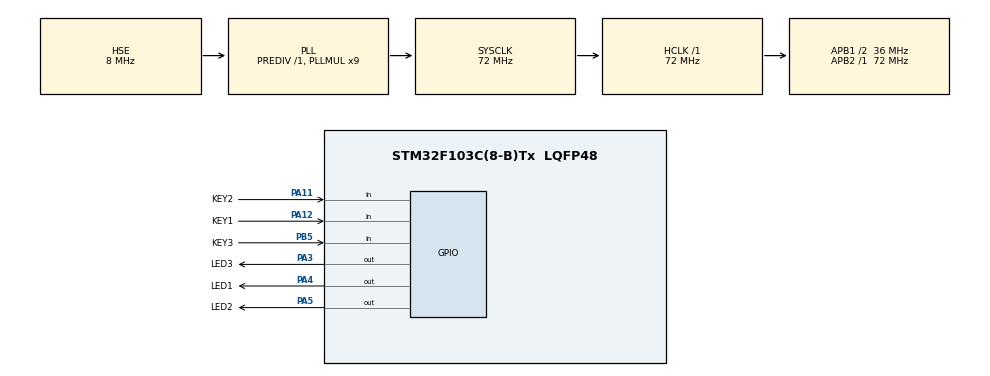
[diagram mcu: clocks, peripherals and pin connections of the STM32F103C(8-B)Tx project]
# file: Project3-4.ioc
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Mcu.Family=STM32F1
Mcu.Name=STM32F103C(8-B)Tx
Mcu.Package=LQFP48
NVIC.PriorityGroup=NVIC_PRIORITYGROUP_4
PA11.GPIO_Label=KEY2
PA11.GPIO_PuPd=GPIO_PULLUP
PA11.Signal=GPIO_Input
PA12.GPIO_Label=KEY1
PA12.GPIO_PuPd=GPIO_PULLUP
PA12.Signal=GPIO_Input
PA13.Mode=Serial_Wire
PA13.Signal=SYS_JTMS-SWDIO
PA14.Mode=Serial_Wire
PA14.Signal=SYS_JTCK-SWCLK
PA3.GPIO_Label=LED3
PA3.PinState=GPIO_PIN_SET
PA3.Signal=GPIO_Output
PA4.GPIO_Label=LED1
PA4.PinState=GPIO_PIN_SET
PA4.Signal=GPIO_Output
PA5.GPIO_Label=LED2
PA5.PinState=GPIO_PIN_SET
PA5.Signal=GPIO_Output
PB5.GPIO_Label=KEY3
PB5.GPIO_PuPd=GPIO_PULLUP
PB5.Signal=GPIO_Input
PD0-OSC_IN.Mode=HSE-External-Oscillator
PD0-OSC_IN.Signal=RCC_OSC_IN
PD1-OSC_OUT.Mode=HSE-External-Oscillator
PD1-OSC_OUT.Signal=RCC_OSC_OUT
ProjectManager.HeapSize=0x200
ProjectManager.StackSize=0x400
ProjectManager.TargetToolchain=MDK-ARM V5.32
RCC.AHBFreq_Value=72000000
RCC.APB1CLKDivider=RCC_HCLK_DIV2
RCC.APB1Freq_Value=36000000
RCC.APB1TimFreq_Value=72000000
RCC.APB2Freq_Value=72000000
RCC.APB2TimFreq_Value=72000000
RCC.HCLKFreq_Value=72000000
RCC.PLLMUL=RCC_PLL_MUL9
RCC.PLLSourceVirtual=RCC_PLLSOURCE_HSE
RCC.SYSCLKFreq_VALUE=72000000
RCC.SYSCLKSource=RCC_SYSCLKSOURCE_PLLCLK
RCC.USBFreq_Value=72000000
board=custom

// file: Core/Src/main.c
/* USER CODE BEGIN Header */
/**
  ******************************************************************************
  * @file           : main.c
  * @brief          : Main program body
  ******************************************************************************
  * @attention
  *
  * Copyright (c) 2025 STMicroelectronics.
  * All rights reserved.
  *
  * This software is licensed under terms that can be found in the LICENSE file
  * in the root directory of this software component.
  * If no LICENSE file comes with this software, it is provided AS-IS.
  *
  ******************************************************************************
  */
/* USER CODE END Header */
#include "main.h"
#include "gpio.h"

void SystemClock_Config(void);

int main(void)
{

  /* MCU Configuration--------------------------------------------------------*/

  /* Reset of all peripherals, Initializes the Flash interface and the Systick. */
  HAL_Init();

  /* Configure the system clock */
  SystemClock_Config();

  /* Initialize all configured peripherals */
  MX_GPIO_Init();

  /* Infinite loop */
  /* USER CODE BEGIN WHILE */
  while (1)
  {
	  //在cubemx中将PA12和PA11模式设置为GPIO_Input，更改用户标签为KEY1和KEY2
	  //在cubemx中将PA4和PA5模式设置为GPIO_Output，将初始电平设置为High
	  if(HAL_GPIO_ReadPin(GPIOA,GPIO_PIN_12) == GPIO_PIN_RESET)//按键1按下
	  {
		  HAL_Delay(20);											//消抖
		  while(HAL_GPIO_ReadPin(KEY1_GPIO_Port,KEY1_Pin) == GPIO_PIN_RESET);//等待按键松手
		  HAL_Delay(20);
		  HAL_GPIO_TogglePin(GPIOA, GPIO_PIN_5);//PA5的状态取反

	  }
	  if(HAL_GPIO_ReadPin(KEY2_GPIO_Port,KEY2_Pin) == GPIO_PIN_RESET)//按键2按下
	  {
		  HAL_Delay(20);											//消抖
		  while(HAL_GPIO_ReadPin(KEY2_GPIO_Port,KEY2_Pin) == GPIO_PIN_RESET);//等待按键松手
		  HAL_Delay(20);
		  HAL_GPIO_TogglePin(GPIOA, GPIO_PIN_4);//PA4的状态取反

	  }
	  if(HAL_GPIO_ReadPin(KEY3_GPIO_Port,KEY3_Pin) == GPIO_PIN_RESET)//按键3按下
	  {
		  HAL_Delay(20);											//消抖
		  while(HAL_GPIO_ReadPin(KEY3_GPIO_Port,KEY3_Pin) == GPIO_PIN_RESET);//等待按键松手
		  HAL_Delay(20);
		  HAL_GPIO_TogglePin(GPIOA, GPIO_PIN_3);//PA3的状态取反

	  }

    /* USER CODE END WHILE */

  }
}

void SystemClock_Config(void)
{
  RCC_OscInitTypeDef RCC_OscInitStruct = {0};
  RCC_ClkInitTypeDef RCC_ClkInitStruct = {0};

  /** Initializes the RCC Oscillators according to the specified parameters
  * in the RCC_OscInitTypeDef structure.
  */
  RCC_OscInitStruct.OscillatorType = RCC_OSCILLATORTYPE_HSE;
  RCC_OscInitStruct.HSEState = RCC_HSE_ON;
  RCC_OscInitStruct.HSEPredivValue = RCC_HSE_PREDIV_DIV1;
  RCC_OscInitStruct.HSIState = RCC_HSI_ON;
  RCC_OscInitStruct.PLL.PLLState = RCC_PLL_ON;
  RCC_OscInitStruct.PLL.PLLSource = RCC_PLLSOURCE_HSE;
  RCC_OscInitStruct.PLL.PLLMUL = RCC_PLL_MUL9;
  if (HAL_RCC_OscConfig(&RCC_OscInitStruct) != HAL_OK)
  {
    Error_Handler();
  }

  /** Initializes the CPU, AHB and APB buses clocks
  */
  RCC_ClkInitStruct.ClockType = RCC_CLOCKTYPE_HCLK|RCC_CLOCKTYPE_SYSCLK
                              |RCC_CLOCKTYPE_PCLK1|RCC_CLOCKTYPE_PCLK2;
  RCC_ClkInitStruct.SYSCLKSource = RCC_SYSCLKSOURCE_PLLCLK;
  RCC_ClkInitStruct.AHBCLKDivider = RCC_SYSCLK_DIV1;
  RCC_ClkInitStruct.APB1CLKDivider = RCC_HCLK_DIV2;
  RCC_ClkInitStruct.APB2CLKDivider = RCC_HCLK_DIV1;

  if (HAL_RCC_ClockConfig(&RCC_ClkInitStruct, FLASH_LATENCY_2) != HAL_OK)
  {
    Error_Handler();
  }
}

void Error_Handler(void)
{
  __disable_irq();
  while (1)
  {
  }
}
